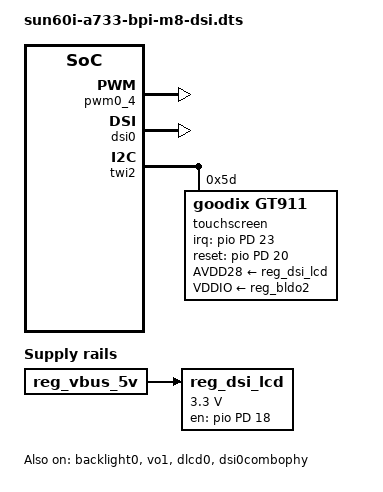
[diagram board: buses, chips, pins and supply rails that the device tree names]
// SPDX-License-Identifier: GPL-2.0
/dts-v1/;
/plugin/;

#include <dt-bindings/gpio/gpio.h>
#include <dt-bindings/gpio/sun4i-gpio.h>
#include <dt-bindings/interrupt-controller/irq.h>

/ {
	compatible = "bananapi,bananapi-m8", "allwinner,sun60iw2";
};

/* HC070/JZ-B2601A070G: four-lane DSI, JD9365 panel and GT911 touch. */
&{/} {
	reg_dsi_lcd: regulator-dsi-lcd {
		compatible = "regulator-fixed";
		regulator-name = "dsi-lcd-touch-3v3";
		regulator-min-microvolt = <3300000>;
		regulator-max-microvolt = <3300000>;
		vin-supply = <&reg_vbus_5v>;
		gpio = <&pio PD 18 GPIO_ACTIVE_HIGH>;
		enable-active-high;
		startup-delay-us = <10000>;
	};
};

&panel_0 {
	/* JD9365 requires video mode with a non-continuous DSI clock. */
	dsi,flags = <0x401>;
	/* PD18 powers both devices; blanking must not cut touch power. */
	power-num = <3>;
	power2-supply = <&reg_dsi_lcd>;
	width-mm = <94>;
	height-mm = <151>;
	status = "okay";
};

&backlight0 {
	status = "okay";
};

&pwm0_4 {
	status = "okay";
};

&vo1 {
	status = "okay";
};

&dlcd0 {
	status = "okay";
};

&dsi0combophy {
	status = "okay";
};

&dsi0 {
	status = "okay";
};

&twi2 {
	/* Do not combine with pe-i2c2: both use the same controller. */
	#address-cells = <1>;
	#size-cells = <0>;
	pinctrl-names = "default", "sleep";
	pinctrl-0 = <&twi2_pins_default>;
	pinctrl-1 = <&twi2_pins_sleep>;
	twi-supply = <&reg_bldo2>;
	status = "okay";

	touchscreen@5d {
		compatible = "goodix,gt911";
		reg = <0x5d>;
		interrupt-parent = <&pio>;
		interrupts = <PD 23 IRQ_TYPE_EDGE_FALLING>;
		irq-gpios = <&pio PD 23 GPIO_ACTIVE_HIGH>;
		reset-gpios = <&pio PD 20 GPIO_ACTIVE_HIGH>;
		AVDD28-supply = <&reg_dsi_lcd>;
		VDDIO-supply = <&reg_bldo2>;
		touchscreen-size-x = <800>;
		touchscreen-size-y = <1280>;
	};
};
